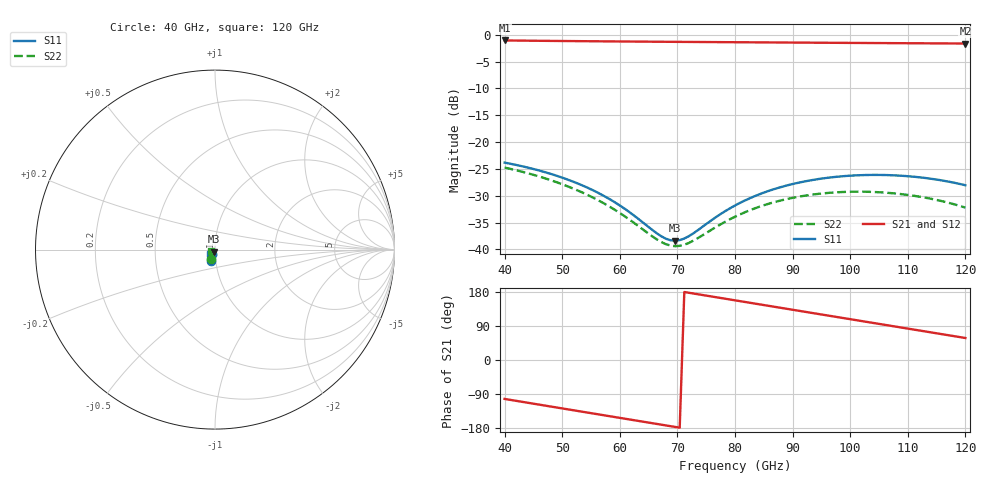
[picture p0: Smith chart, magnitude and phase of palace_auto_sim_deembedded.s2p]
! Created with skrf 1.11.0 (http://scikit-rf.org).
# GHz S DB R 50.0
!freq dBS11 angS11 dBS21 angS21 dBS12 angS12 dBS22 angS22
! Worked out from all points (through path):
!   101 points, 40 GHz to 120 GHz, reference 50 ohm
!   highest |S21| = -1.08 dB at 40 GHz (marker M1); lowest = -1.6 dB at 120 GHz (marker M2)
!   group delay of S21, straight-line fit = 6.92 ps
!   lowest |S11| = -38.4 dB at 69.6 GHz (marker M3), VSWR 1.02, Z = 49.6 - j1.13 ohm
!   |S11| at or under -10 dB: start of sweep to end of sweep
!   |S22| runs from -39.4 to -24.7 dB; largest |S21 - S12| = 9.9e-14
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40  -23.82 -108.5  -1.08 -102.7  -1.08 -102.7  -24.75 -110.1
46.4  -25.42 -124.5  -1.14 -118.8  -1.14 -118.8  -26.54 -126.8
53.6  -28.12 -139.6  -1.21 -136.8  -1.21 -136.8  -29.44 -142.7
56.8  -29.77 -144.4  -1.24 -144.7  -1.24 -144.7  -31.15 -147.8
60  -31.80 -146.9  -1.26 -152.7  -1.26 -152.7  -33.21 -150.5
64  -34.96 -143.0  -1.29 -162.7  -1.29 -162.7  -36.27 -147.0
67.2  -37.54 -128.5  -1.32 -170.7  -1.32 -170.7  -38.61 -134.2
68.8  -38.28 -116.3  -1.33 -174.6  -1.33 -174.6  -39.28 -123.9
69.6  -38.37 -109.5  -1.33 -176.6  -1.33 -176.6  -39.38 -118.2
70.4  -38.26 -102.8  -1.34 -178.6  -1.34 -178.6  -39.32 -112.5
72  -37.52 -91.1  -1.35 177.4  -1.35 177.4  -38.77 -102.5
76  -34.49 -75.9  -1.38 167.4  -1.38 167.4  -36.27 -89.1
80  -31.81 -74.0  -1.40 157.5  -1.40 157.5  -33.90 -87.7
83.2  -30.17 -76.6  -1.42 149.5  -1.42 149.5  -32.44 -90.8
86.4  -28.90 -80.9  -1.45 141.5  -1.45 141.5  -31.31 -95.6
93.6  -27.04 -93.4  -1.49 123.6  -1.49 123.6  -29.76 -109.6
97.6  -26.47 -101.0  -1.52 113.7  -1.52 113.7  -29.36 -118.2
100.8  -26.21 -107.2  -1.54 105.7  -1.54 105.7  -29.24 -125.1
104  -26.11 -113.3  -1.56 97.8  -1.56 97.8  -29.29 -132.0
107.2  -26.17 -119.3  -1.57 89.8  -1.57 89.8  -29.51 -138.7
113.6  -26.77 -130.7  -1.61 73.9  -1.61 73.9  -30.47 -151.5
120  -28.04 -140.5  -1.64 58.1  -1.64 58.1  -32.21 -162.0
